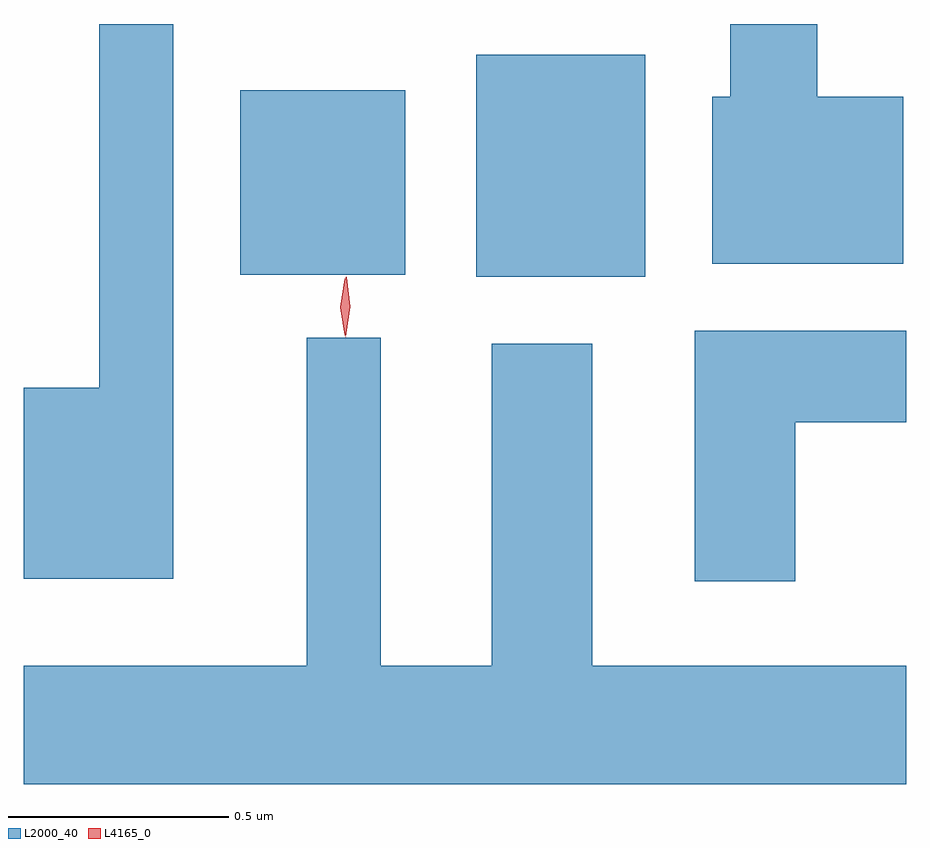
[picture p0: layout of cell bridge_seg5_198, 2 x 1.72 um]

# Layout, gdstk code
import gdstk
lib = gdstk.Library(unit=1e-6, precision=1e-09)
def R(c, l, rs):  # rectangles x0, y0, x1, y1
    for r in rs: c.add(gdstk.rectangle(r[:2], r[2:], *l))
def P(c, l, *ps):  # polygons
    for p in ps: c.add(gdstk.Polygon(p, *l))
L2000_40 = (2000, 40)
L4165_0 = (4165, 0)

bridge_seg5_198 = lib.new_cell('bridge_seg5_198')
R(bridge_seg5_198, L2000_40, [(1238.336,1395.786,1238.719,1396.289), (1237.801,1395.791,1238.174,1396.209)])
P(bridge_seg5_198, L2000_40, [(1239.304,1396.194),(1239.109,1396.194),(1239.109,1396.359),(1238.911,1396.359),(1238.911,1396.194),(1238.871,1396.194),(1238.871,1395.816),(1239.304,1395.816)],
  [(1237.649,1396.359),(1237.481,1396.359),(1237.481,1395.534),(1237.31,1395.534),(1237.31,1395.101),(1237.649,1395.101)],
  [(1239.059,1395.456),(1239.31,1395.456),(1239.31,1395.664),(1238.831,1395.664),(1238.831,1395.096),(1239.059,1395.096)],
  [(1239.31,1394.904),(1238.599,1394.904),(1238.599,1395.634),(1238.371,1395.634),(1238.371,1394.904),(1238.119,1394.904),(1238.119,1395.648),(1237.951,1395.648),(1237.951,1394.904),(1237.31,1394.904),(1237.31,1394.636),(1239.31,1394.636)])
P(bridge_seg5_198, L4165_0, [(1238.037,1395.653),(1238.027,1395.717),(1238.037,1395.782),(1238.038,1395.782),(1238.038,1395.782),(1238.048,1395.717),(1238.038,1395.653),(1238.038,1395.653)],
  [(1238.04,1395.649),(1238.04,1395.65),(1238.03,1395.718),(1238.04,1395.785),(1238.041,1395.786),(1238.042,1395.785),(1238.05,1395.718),(1238.04,1395.65)])

lib.write_gds('bridge_seg5_198.gds')
